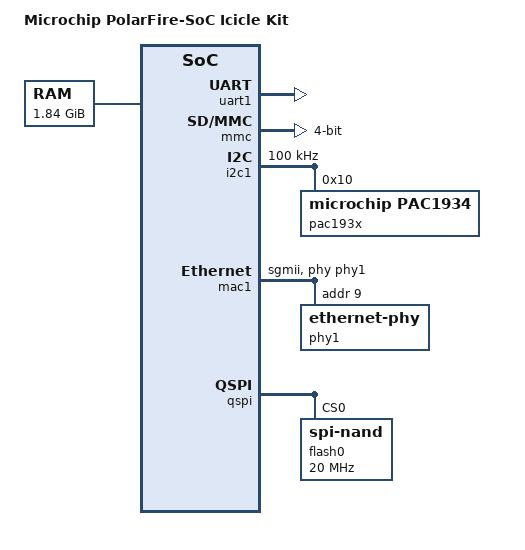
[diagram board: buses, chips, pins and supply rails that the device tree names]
// SPDX-License-Identifier: (GPL-2.0+ OR MIT)
/*
 * Copyright (C) 2021 Microchip Technology Inc.
 * Padmarao Begari <padmarao.begari@microchip.com>
 */

/dts-v1/;

#include "microchip-mpfs.dtsi"

/* Clock frequency (in Hz) of the rtcclk */
#define RTCCLK_FREQ		1000000

/ {
	model = "Microchip PolarFire-SoC Icicle Kit";
	compatible = "microchip,mpfs-icicle-reference-rtlv2210", "microchip,mpfs-icicle-kit",
		     "microchip,mpfs";


	aliases {
		serial1 = &uart1;
		ethernet0 = &mac1;
		spi0 = &qspi;
	};

	chosen {
		stdout-path = "serial1";
	};

	cpus {
		timebase-frequency = <RTCCLK_FREQ>;
	};

	ddrc_cache: memory@1000000000 {
		device_type = "memory";
		reg = <0x10 0x0 0x0 0x75BB0000>;
		clocks = <&clkcfg CLK_DDRC>;
		status = "okay";
	};
};

&refclk {
	clock-frequency = <125000000>;
};

&cpu4 {
	status = "disabled"; // in use by context b
};

&uart1 {
	status = "okay";
};

&uart3 {
	status = "disabled";
};

&mmc {
	status = "okay";
	bus-width = <4>;
	disable-wp;
	cap-mmc-highspeed;
	cap-sd-highspeed;
	card-detect-delay = <200>;
	mmc-ddr-1_8v;
	mmc-hs200-1_8v;
	sd-uhs-sdr12;
	sd-uhs-sdr25;
	sd-uhs-sdr50;
	sd-uhs-sdr104;
};

&i2c1 {
	status = "okay";
	clock-frequency = <100000>;

	pac193x: pac193x@10 {
		compatible = "microchip,pac1934";
		reg = <0x10>;
		samp-rate = <64>;
		status = "okay";
		ch1: channel0 {
			uohms-shunt-res = <10000>;
			rail-name = "VDDREG";
			channel_enabled;
		};
		ch2: channel1 {
			uohms-shunt-res = <10000>;
			rail-name = "VDDA25";
			channel_enabled;
		};
		ch3: channel2 {
			uohms-shunt-res = <10000>;
			rail-name = "VDD25";
			channel_enabled;
		};
		ch4: channel3 {
			uohms-shunt-res = <10000>;
			rail-name = "VDDA_REG";
			channel_enabled;
		};
	};
};

&mac1 {
	status = "okay";
	phy-mode = "sgmii";
	phy-handle = <&phy1>;
	phy1: ethernet-phy@9 {
		reg = <9>;
	};
};

&qspi {
	status = "okay";
	num-cs = <1>;
	flash0: spi-nand@0 {
		compatible = "spi-nand";
		reg = <0x0>;
		spi-tx-bus-width = <4>;
		spi-rx-bus-width = <4>;
		spi-max-frequency = <20000000>;
		spi-cpol;
		spi-cpha;
	};
};
